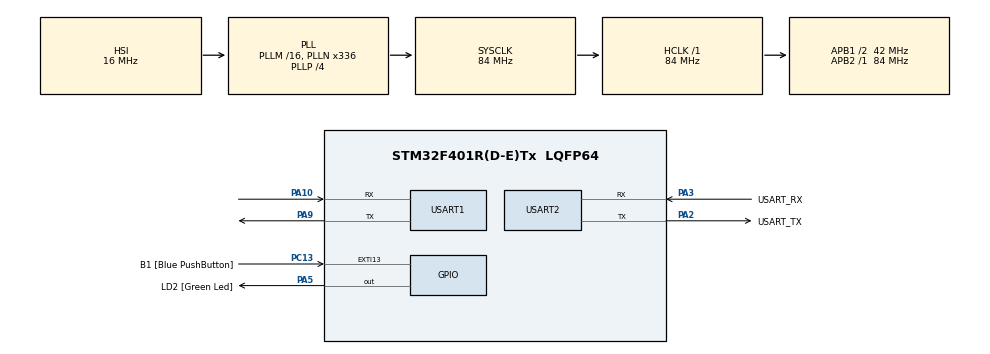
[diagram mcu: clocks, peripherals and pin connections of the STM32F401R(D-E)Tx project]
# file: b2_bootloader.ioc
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Mcu.Family=STM32F4
Mcu.Name=STM32F401R(D-E)Tx
Mcu.Package=LQFP64
NVIC.PriorityGroup=NVIC_PRIORITYGROUP_4
PA10.Mode=Asynchronous
PA10.Signal=USART1_RX
PA13.GPIO_Label=TMS
PA13.Mode=Trace_Asynchronous_SW
PA13.Signal=SYS_JTMS-SWDIO
PA14.GPIO_Label=TCK
PA14.Mode=Trace_Asynchronous_SW
PA14.Signal=SYS_JTCK-SWCLK
PA2.GPIO_Label=USART_TX
PA2.GPIO_Mode=GPIO_MODE_AF_PP
PA2.GPIO_PuPd=GPIO_NOPULL
PA2.GPIO_Speed=GPIO_SPEED_FREQ_LOW
PA2.Mode=Asynchronous
PA2.Signal=USART2_TX
PA3.GPIO_Label=USART_RX
PA3.GPIO_Mode=GPIO_MODE_AF_PP
PA3.GPIO_PuPd=GPIO_NOPULL
PA3.GPIO_Speed=GPIO_SPEED_FREQ_LOW
PA3.Mode=Asynchronous
PA3.Signal=USART2_RX
PA5.GPIO_Label=LD2 [Green Led]
PA5.GPIO_Mode=GPIO_MODE_OUTPUT_PP
PA5.GPIO_PuPd=GPIO_NOPULL
PA5.GPIO_Speed=GPIO_SPEED_FREQ_LOW
PA5.Signal=GPIO_Output
PA9.Mode=Asynchronous
PA9.Signal=USART1_TX
PB3.GPIO_Label=SWO
PB3.Mode=Trace_Asynchronous_SW
PB3.Signal=SYS_JTDO-SWO
PC13-ANTI_TAMP.GPIO_Label=B1 [Blue PushButton]
PC13-ANTI_TAMP.GPIO_ModeDefaultEXTI=GPIO_MODE_IT_FALLING
PC13-ANTI_TAMP.GPIO_PuPd=GPIO_NOPULL
PC13-ANTI_TAMP.Signal=GPXTI13
PC14-OSC32_IN.Mode=LSE-External-Oscillator
PC14-OSC32_IN.Signal=RCC_OSC32_IN
PC15-OSC32_OUT.Mode=LSE-External-Oscillator
PC15-OSC32_OUT.Signal=RCC_OSC32_OUT
PH0\ -\ OSC_IN.Mode=HSE-External-Clock-Source
PH0\ -\ OSC_IN.Signal=RCC_OSC_IN
PH1\ -\ OSC_OUT.Mode=HSE-External-Clock-Source
PH1\ -\ OSC_OUT.Signal=RCC_OSC_OUT
ProjectManager.HeapSize=0x200
ProjectManager.StackSize=0x400
ProjectManager.TargetToolchain=STM32CubeIDE
RCC.48MHZClocksFreq_Value=48000000
RCC.AHBFreq_Value=84000000
RCC.APB1CLKDivider=RCC_HCLK_DIV2
RCC.APB1Freq_Value=42000000
RCC.APB1TimFreq_Value=84000000
RCC.APB2Freq_Value=84000000
RCC.APB2TimFreq_Value=84000000
RCC.CortexFreq_Value=84000000
RCC.HCLKFreq_Value=84000000
RCC.HSE_VALUE=8000000
RCC.HSI_VALUE=16000000
RCC.PLLN=336
RCC.PLLP=RCC_PLLP_DIV4
RCC.PLLQ=7
RCC.SYSCLKFreq_VALUE=84000000
RCC.SYSCLKSource=RCC_SYSCLKSOURCE_PLLCLK
RCC.VCOOutputFreq_Value=336000000
USART1.VirtualMode=VM_ASYNC
USART2.VirtualMode=VM_ASYNC
VP_CRC_VS_CRC.Mode=CRC_Activate
board=NUCLEO-F401RE

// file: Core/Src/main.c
/* USER CODE BEGIN Header */
/**
  ******************************************************************************
  * @file           : main.c
  * @brief          : Main program body
  ******************************************************************************
  * @attention
  *
  * Copyright (c) 2026 STMicroelectronics.
  * All rights reserved.
  *
  * This software is licensed under terms that can be found in the LICENSE file
  * in the root directory of this software component.
  * If no LICENSE file comes with this software, it is provided AS-IS.
  *
  ******************************************************************************
  */
/* USER CODE END Header */
#include "main.h"

/* USER CODE BEGIN Includes */
#include "ota_metadata.h"
#include <string.h>
/* USER CODE END Includes */

CRC_HandleTypeDef hcrc;

UART_HandleTypeDef huart1;
UART_HandleTypeDef huart2;

void SystemClock_Config(void);
static void MX_GPIO_Init(void);
static void MX_USART2_UART_Init(void);
static void MX_CRC_Init(void);
static void MX_USART1_UART_Init(void);
/* USER CODE BEGIN PFP */
static void bl_print(const char *msg);
/* USER CODE END PFP */

/* USER CODE BEGIN 0 */
typedef void (*app_entry_t)(void);

static app_entry_t app_entry;

static uint8_t metadata_is_valid(const ota_metadata_t *meta) {
	if (meta->magic != METADATA_MAGIC) {
		return 0U;
	}

	if ((meta->active_slot != SLOT_A) && (meta->active_slot != SLOT_B)) {
		return 0U;
	}

	return 1U;
}

static uint32_t slot_base_address(uint32_t slot) {
	return (slot == SLOT_A) ? SLOT_A_BASE_ADDRESS: SLOT_B_BASE_ADDRESS;
}

static uint32_t slot_size(const ota_metadata_t *meta, uint32_t slot) {
	return (slot == SLOT_A) ? meta->slot_a_size : meta->slot_b_size;
}

static uint32_t slot_crc32(const ota_metadata_t *meta, uint32_t slot) {
    return (slot == SLOT_A) ? meta->slot_a_crc32 : meta->slot_b_crc32;
}

static uint8_t slot_is_valid(const ota_metadata_t *meta, uint32_t slot) {
	uint32_t size = slot_size(meta, slot);

	if ((size == 0U) || (size > SLOT_SIZE)) {
		return 0U;
	}

	// hardware crc works on 32bit words
	if ((size % 4U) != 0U) {
		return 0U;
	}

	uint32_t computed = HAL_CRC_Calculate(&hcrc, (uint32_t *)slot_base_address(slot), size / 4U);

	return (computed == slot_crc32(meta, slot)) ? 1U : 0U;
}

static HAL_StatusTypeDef metadata_write(const ota_metadata_t *new_meta) {
	FLASH_EraseInitTypeDef erase = {0};
	uint32_t sector_error = 0U;
	const uint32_t *src = (const uint32_t *)new_meta;

	if (HAL_FLASH_Unlock() != HAL_OK) {
		return HAL_ERROR;
	}

	erase.TypeErase = FLASH_TYPEERASE_SECTORS;
	erase.Sector = FLASH_SECTOR_7;
	erase.NbSectors = 1U;
	erase.VoltageRange = FLASH_VOLTAGE_RANGE_3;

	if (HAL_FLASHEx_Erase(&erase, &sector_error) != HAL_OK) {
		HAL_FLASH_Lock();
		return HAL_ERROR;
	}

	for (uint32_t i = 0U; i < (sizeof(ota_metadata_t) / 4U); i++) {
		if (HAL_FLASH_Program(FLASH_TYPEPROGRAM_WORD, METADATA_BASE_ADDRESS + (i * 4U), src[i]) != HAL_OK) {
			HAL_FLASH_Lock();
			return HAL_ERROR;
		}
	}

	HAL_FLASH_Lock();
	return HAL_OK;
}

static uint32_t slot_sector(uint32_t slot) {
	return (slot == SLOT_A) ? FLASH_SECTOR_5 : FLASH_SECTOR_6;
}

static HAL_StatusTypeDef slot_erase(uint32_t slot) {
	FLASH_EraseInitTypeDef erase = {0};
	uint32_t sector_error = 0U;

	if (HAL_FLASH_Unlock() != HAL_OK) {
		return HAL_ERROR;
	}

	erase.TypeErase = FLASH_TYPEERASE_SECTORS;
	erase.Sector = slot_sector(slot);
	erase.NbSectors = 1U;
	erase.VoltageRange = FLASH_VOLTAGE_RANGE_3;

	HAL_StatusTypeDef status = HAL_FLASHEx_Erase(&erase, &sector_error);

	HAL_FLASH_Lock();
	return status;
}

static HAL_StatusTypeDef slot_write(uint32_t slot, uint32_t offset, const uint8_t *data, uint32_t length) {
	uint32_t base = slot_base_address(slot);

	// bounds check, never write outside the slot
	if ((offset + length) > SLOT_SIZE) {
		return HAL_ERROR;
	}

	// word-aligned writes only
	if (((offset % 4U) != 0U) || ((length % 4U) != 0U)) {
		return HAL_ERROR;
	}

	if (HAL_FLASH_Unlock() != HAL_OK) {
		return HAL_ERROR;
	}

	for (uint32_t i = 0U; i < length; i += 4U) {
		uint32_t word;
		memcpy(&word, &data[i], 4U);

		if (HAL_FLASH_Program(FLASH_TYPEPROGRAM_WORD, base + offset + i, word) != HAL_OK) {
			HAL_FLASH_Lock();
			return HAL_ERROR;
		}
	}

	HAL_FLASH_Lock();
	return HAL_OK;
}

#define UPDATE_PROMPT '?'
#define UPDATE_REQUEST 'U'
#define UPDATE_HEADER_MAGIC 0xB2U
#define CHUNK_SIZE 256U
#define PROMPT_TIMEOUT_MS 1000U
#define HEADER_TIMEOUT_MS 2000U
#define CHUNK_TIMEOUT_MS 5000U

typedef struct {
	uint8_t magic;
	uint32_t size;
	uint32_t crc32;
	uint32_t version;
} __attribute__((packed)) update_header_t;

static uint8_t receive_update(uint32_t target_slot) {
	uint8_t reply = 0U;
	uint8_t chunk[CHUNK_SIZE];
	update_header_t header;

	// offer an update window, announcing current version
	const ota_metadata_t *current = (const ota_metadata_t *)METADATA_BASE_ADDRESS;
	uint32_t my_version = (current->active_slot == SLOT_A) ? current->slot_a_version : current->slot_b_version;

	uint8_t prompt_msg[6];
	prompt_msg[0] = UPDATE_PROMPT;
	memcpy(&prompt_msg[1], &my_version, 4U);
	prompt_msg[5] = (uint8_t)target_slot;

	HAL_UART_Transmit(&huart1, prompt_msg, 6U, HAL_MAX_DELAY);

	if (HAL_UART_Receive(&huart1, &reply, 1U, PROMPT_TIMEOUT_MS) != HAL_OK) {
		return 0U; // nobody there
	}

	if (reply != UPDATE_REQUEST) {
		return 0U;
	}

	bl_print("Update offered\r\n");

	if (HAL_UART_Receive(&huart1, (uint8_t *)&header, sizeof(header), HEADER_TIMEOUT_MS) != HAL_OK) {
		bl_print("Header timeout\r\n");
		return 0U;
	}

	// a wrong magic means the stream is out of sync, not that the image is bad
	if (header.magic != UPDATE_HEADER_MAGIC) {
		HAL_UART_Transmit(&huart1, (uint8_t *)"NO", 2U, HAL_MAX_DELAY);
		bl_print("Bad header magic\r\n");
		return 0U;
	}

	if ((header.size == 0U) || (header.size > SLOT_SIZE) || ((header.size % 4U) != 0U)) {
		HAL_UART_Transmit(&huart1, (uint8_t *)"NO", 2U, HAL_MAX_DELAY);
		bl_print("Bad header\r\n");
		return 0U;
	}

	HAL_UART_Transmit(&huart1, (uint8_t *)"OK", 2U, HAL_MAX_DELAY);

	if (slot_erase(target_slot) != HAL_OK) {
		bl_print("Slot erase failed\r\n");
		return 0U;
	}

	HAL_UART_Transmit(&huart1, (uint8_t *)"R", 1U, HAL_MAX_DELAY);

	uint32_t received = 0U;

	while (received < header.size) {
		uint32_t remaining = header.size - received;
		uint32_t this_chunk = (remaining < CHUNK_SIZE) ? remaining : CHUNK_SIZE;

		if (HAL_UART_Receive(&huart1, chunk, this_chunk, CHUNK_TIMEOUT_MS) != HAL_OK) {
			bl_print("Chunk timeout\r\n");
			return 0U;
		}

		if (slot_write(target_slot, received, chunk, this_chunk) != HAL_OK) {
			bl_print("Slot write failed\r\n");
			return 0U;
		}

		received += this_chunk;

		HAL_UART_Transmit(&huart1, (uint8_t *)"A", 1U, HAL_MAX_DELAY);
	}

	// verify what actually landed in flash
	uint32_t computed = HAL_CRC_Calculate(&hcrc, (uint32_t *)slot_base_address(target_slot), header.size / 4U);

	if (computed != header.crc32) {
		bl_print("CRC mismatch - discarding\r\n");
		return 0U;
	}

	bl_print("Update verified\r\n");

	// commit - point at the new slot and mark as trial
	const ota_metadata_t *meta = (const ota_metadata_t *)METADATA_BASE_ADDRESS;
	ota_metadata_t updated = *meta;

	updated.active_slot = target_slot;
	updated.boot_confirmed = BOOT_TRIAL;
	updated.boot_attempts = BOOT_ATTEMPTS_FRESH;

	if (target_slot == SLOT_A) {
		updated.slot_a_size = header.size;
		updated.slot_a_crc32 = header.crc32;
		updated.slot_a_version = header.version;
	} else {
		updated.slot_b_size = header.size;
		updated.slot_b_crc32 = header.crc32;
		updated.slot_b_version = header.version;
	}

	if (metadata_write(&updated) != HAL_OK) {
		bl_print("Metadata write failed\r\n");
		return 0U;
	}

	return 1U;
}

static void jump_to_application(uint32_t slot) {
	uint32_t base = slot_base_address(slot);

    uint32_t app_stack_pointer = *(volatile uint32_t *)(base);
    uint32_t app_reset_handler = *(volatile uint32_t *)(base + 4UL);

    app_entry = (app_entry_t)app_reset_handler;

    /* Stop peripherals and interrupts before handing over */
    HAL_RCC_DeInit();
    HAL_DeInit();

    __disable_irq();

    SysTick->CTRL = 0;
    SysTick->LOAD = 0;
    SysTick->VAL = 0;

    for (uint32_t i = 0; i< 8UL; i++) {
    	NVIC->ICER[i] = 0xFFFFFFFFUL;
    	NVIC->ICPR[i] = 0xFFFFFFFFUL;
    }

    /* Point the vector table at the application */
    SCB->VTOR = base;

    /* Set the application's stack pointer */
    __set_MSP(app_stack_pointer);

    __enable_irq();

    /* Hand over control - never returns */
    app_entry();
}

#define BOOT_ATTEMPTS_ADDRESS   (METADATA_BASE_ADDRESS + 12UL)

static uint32_t attempts_used(uint32_t attempts_word)
{
    uint32_t count = 0U;

    for (uint32_t i = 0U; i < 32U; i++)
    {
        if ((attempts_word & (1UL << i)) == 0U)
        {
            count++;
        }
    }

    return count;
}

static HAL_StatusTypeDef record_boot_attempt(uint32_t attempts_word)
{
    uint32_t used = attempts_used(attempts_word);

    /* Clear one more bit, lowest first */
    uint32_t updated = attempts_word & ~(1UL << used);

    if (HAL_FLASH_Unlock() != HAL_OK)
    {
        return HAL_ERROR;
    }

    HAL_StatusTypeDef status = HAL_FLASH_Program(FLASH_TYPEPROGRAM_WORD,
                                                 BOOT_ATTEMPTS_ADDRESS,
                                                 updated);
    HAL_FLASH_Lock();
    return status;
}
/* USER CODE END 0 */

int main(void)
{

  /* MCU Configuration--------------------------------------------------------*/

  /* Reset of all peripherals, Initializes the Flash interface and the Systick. */
  HAL_Init();

  /* Configure the system clock */
  SystemClock_Config();

  /* Initialize all configured peripherals */
  MX_GPIO_Init();
  MX_USART2_UART_Init();
  MX_CRC_Init();
  MX_USART1_UART_Init();
  /* USER CODE BEGIN 2 */
  bl_print("\r\n=== B2 Bootloader ===\r\n");

  const ota_metadata_t *meta = (const ota_metadata_t *)METADATA_BASE_ADDRESS;

  if (!metadata_is_valid(meta)) {
	  bl_print("No valid metadata - halting\r\n");
  } else {
	  uint32_t inactive = (meta->active_slot == SLOT_A) ? SLOT_B : SLOT_A;
	  if (receive_update(inactive)) {
		  bl_print("Rebooting into new image\r\n");
		  HAL_NVIC_SystemReset();
	  }

      uint32_t target_slot = meta->active_slot;

      if (meta->boot_confirmed != BOOT_CONFIRMED) {
          uint32_t used = attempts_used(meta->boot_attempts);

          if (used >= BOOT_ATTEMPTS_MAX) {
              bl_print("Trial image failed - rolling back\r\n");

              target_slot = (meta->active_slot == SLOT_A) ? SLOT_B : SLOT_A;

              ota_metadata_t updated = *meta;
              updated.active_slot    = target_slot;
              updated.boot_confirmed = BOOT_CONFIRMED;
              updated.boot_attempts  = BOOT_ATTEMPTS_FRESH;

              if (metadata_write(&updated) != HAL_OK) {
                  bl_print("Metadata write failed\r\n");
              }
          } else {
              bl_print("Trial boot - recording attempt\r\n");
              record_boot_attempt(meta->boot_attempts);
          }
      }

	  if (slot_is_valid(meta, target_slot)) {
		  bl_print((target_slot == SLOT_A) ? "Booting Slot A\r\n" : "Booting Slot B\r\n");
		  jump_to_application(target_slot);
	  } else {
		  // target slot is bad, try the other one
		  uint32_t other = (target_slot == SLOT_A) ? SLOT_B : SLOT_A;

		  bl_print("Target slot invalid, trying the other slot\r\n");

		  if (slot_is_valid(meta, other)) {
			  bl_print((other == SLOT_A ? "Booting Slot A\r\n" : "Booting Slot B\r\n"));
			  jump_to_application(other);
		  } else {
			  bl_print("Both slots invalid, halting\r\n");
		  }
	  }
  }

  /* USER CODE END 2 */

  /* Infinite loop */
  while (1)
  {

  }
}

void SystemClock_Config(void)
{
  RCC_OscInitTypeDef RCC_OscInitStruct = {0};
  RCC_ClkInitTypeDef RCC_ClkInitStruct = {0};

  /** Configure the main internal regulator output voltage
  */
  __HAL_RCC_PWR_CLK_ENABLE();
  __HAL_PWR_VOLTAGESCALING_CONFIG(PWR_REGULATOR_VOLTAGE_SCALE2);

  /** Initializes the RCC Oscillators according to the specified parameters
  * in the RCC_OscInitTypeDef structure.
  */
  RCC_OscInitStruct.OscillatorType = RCC_OSCILLATORTYPE_HSI;
  RCC_OscInitStruct.HSIState = RCC_HSI_ON;
  RCC_OscInitStruct.HSICalibrationValue = RCC_HSICALIBRATION_DEFAULT;
  RCC_OscInitStruct.PLL.PLLState = RCC_PLL_ON;
  RCC_OscInitStruct.PLL.PLLSource = RCC_PLLSOURCE_HSI;
  RCC_OscInitStruct.PLL.PLLM = 16;
  RCC_OscInitStruct.PLL.PLLN = 336;
  RCC_OscInitStruct.PLL.PLLP = RCC_PLLP_DIV4;
  RCC_OscInitStruct.PLL.PLLQ = 7;
  if (HAL_RCC_OscConfig(&RCC_OscInitStruct) != HAL_OK)
  {
    Error_Handler();
  }

  /** Initializes the CPU, AHB and APB buses clocks
  */
  RCC_ClkInitStruct.ClockType = RCC_CLOCKTYPE_HCLK|RCC_CLOCKTYPE_SYSCLK
                              |RCC_CLOCKTYPE_PCLK1|RCC_CLOCKTYPE_PCLK2;
  RCC_ClkInitStruct.SYSCLKSource = RCC_SYSCLKSOURCE_PLLCLK;
  RCC_ClkInitStruct.AHBCLKDivider = RCC_SYSCLK_DIV1;
  RCC_ClkInitStruct.APB1CLKDivider = RCC_HCLK_DIV2;
  RCC_ClkInitStruct.APB2CLKDivider = RCC_HCLK_DIV1;

  if (HAL_RCC_ClockConfig(&RCC_ClkInitStruct, FLASH_LATENCY_2) != HAL_OK)
  {
    Error_Handler();
  }
}

static void MX_CRC_Init(void)
{

  hcrc.Instance = CRC;
  if (HAL_CRC_Init(&hcrc) != HAL_OK)
  {
    Error_Handler();
  }

}

static void MX_USART1_UART_Init(void)
{

  huart1.Instance = USART1;
  huart1.Init.BaudRate = 115200;
  huart1.Init.WordLength = UART_WORDLENGTH_8B;
  huart1.Init.StopBits = UART_STOPBITS_1;
  huart1.Init.Parity = UART_PARITY_NONE;
  huart1.Init.Mode = UART_MODE_TX_RX;
  huart1.Init.HwFlowCtl = UART_HWCONTROL_NONE;
  huart1.Init.OverSampling = UART_OVERSAMPLING_16;
  if (HAL_UART_Init(&huart1) != HAL_OK)
  {
    Error_Handler();
  }

}

static void MX_USART2_UART_Init(void)
{

  huart2.Instance = USART2;
  huart2.Init.BaudRate = 115200;
  huart2.Init.WordLength = UART_WORDLENGTH_8B;
  huart2.Init.StopBits = UART_STOPBITS_1;
  huart2.Init.Parity = UART_PARITY_NONE;
  huart2.Init.Mode = UART_MODE_TX_RX;
  huart2.Init.HwFlowCtl = UART_HWCONTROL_NONE;
  huart2.Init.OverSampling = UART_OVERSAMPLING_16;
  if (HAL_UART_Init(&huart2) != HAL_OK)
  {
    Error_Handler();
  }

}

static void MX_GPIO_Init(void)
{
  GPIO_InitTypeDef GPIO_InitStruct = {0};

  /* GPIO Ports Clock Enable */
  __HAL_RCC_GPIOC_CLK_ENABLE();
  __HAL_RCC_GPIOH_CLK_ENABLE();
  __HAL_RCC_GPIOA_CLK_ENABLE();
  __HAL_RCC_GPIOB_CLK_ENABLE();

  /*Configure GPIO pin Output Level */
  HAL_GPIO_WritePin(LD2_GPIO_Port, LD2_Pin, GPIO_PIN_RESET);

  /*Configure GPIO pin : B1_Pin */
  GPIO_InitStruct.Pin = B1_Pin;
  GPIO_InitStruct.Mode = GPIO_MODE_IT_FALLING;
  GPIO_InitStruct.Pull = GPIO_NOPULL;
  HAL_GPIO_Init(B1_GPIO_Port, &GPIO_InitStruct);

  /*Configure GPIO pin : LD2_Pin */
  GPIO_InitStruct.Pin = LD2_Pin;
  GPIO_InitStruct.Mode = GPIO_MODE_OUTPUT_PP;
  GPIO_InitStruct.Pull = GPIO_NOPULL;
  GPIO_InitStruct.Speed = GPIO_SPEED_FREQ_LOW;
  HAL_GPIO_Init(LD2_GPIO_Port, &GPIO_InitStruct);

}

/* USER CODE BEGIN 4 */
static void bl_print(const char *msg) {
	HAL_UART_Transmit(&huart2, (uint8_t *)msg, strlen(msg), HAL_MAX_DELAY);
}
/* USER CODE END 4 */

void Error_Handler(void)
{
  __disable_irq();
  while (1)
  {
  }
}
